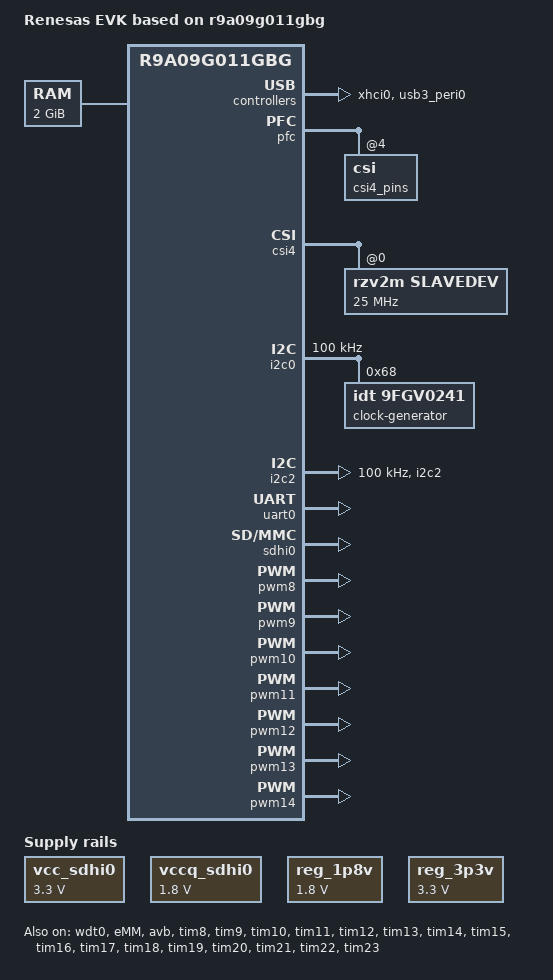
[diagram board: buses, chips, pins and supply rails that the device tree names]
// SPDX-License-Identifier: GPL-2.0
/*
 * Device Tree Source for the RZ/V2M evaluation-board platform
 *
 * Copyright (C) 2022 Renesas Electronics Corp.
 */

/dts-v1/;
#include "r9a09g011gbg.dtsi"
#include <dt-bindings/gpio/gpio.h>

/ {
    model = "Renesas EVK based on r9a09g011gbg";
    compatible = "renesas,r9a09g011gbg";

    aliases {
        serial0 = &uart0;
    };

    chosen {
        bootargs = "earlycon=uart,mmio32,0xA4040000,115200n8 console=ttyS0,115200n8 loglevel=8 vmalloc=384M root=/dev/mmcblk0p2 rootwait rootfstype=ext3 rw; rodata=off ip=dhcp";
        stdout-path = "serial0:115200n8";
    };

    memory@180000000 {
        device_type = "memory";
        reg = <0x1 0x80000000 0x0 0x80000000>;
    };

    reserved-memory {
        #address-cells = <2>;
        #size-cells = <2>;
        ranges;

        /* global autoconfigured region for contiguous allocations */
        global_cma: linux,cma@1B8000000 {
            compatible = "shared-dma-pool";
            reusable;
            reg = <0x1 0xB8000000 0x0 0x8000000>;
            linux,cma-default;
        };

        /* device specific region for contiguous allocations */
        drp_reserved: linux,CMAtoDRP {
            reusable;
            reg = <0x1 0xC0000000 0x0 0x20000000>;
        };

        image_buf0: image_buf@0 {
            compatible = "shared-dma-pool";
            reusable;
            reg = <0x1 0xFFC00000 0x0 0x400000>; //4MiB
            label = "image_buf0";
        };
    };

    vcc_sdhi0: regulator-vcc-sdhi0 {
        compatible = "regulator-fixed";

        regulator-name = "SDHI0 Vcc";
        regulator-min-microvolt = <3300000>;
        regulator-max-microvolt = <3300000>;
        regulator-always-on;
        regulator-boot-on;
    };

    vccq_sdhi0: regulator-vccq-sdhi0 {
        compatible = "regulator-fixed";

        regulator-name = "SDHI0 VccQ";
        regulator-min-microvolt = <1800000>;
        regulator-max-microvolt = <1800000>;
	regulator-always-on;
	regulator-boot-on;
    };

    reg_1p8v: regulator0 {
        compatible = "regulator-fixed";
        regulator-name = "fixed-1.8V";
        regulator-min-microvolt = <1800000>;
        regulator-max-microvolt = <1800000>;
        regulator-boot-on;
        regulator-always-on;
    };

    reg_3p3v: regulator1 {
        compatible = "regulator-fixed";
        regulator-name = "fixed-3.3V";
        regulator-min-microvolt = <3300000>;
        regulator-max-microvolt = <3300000>;
        regulator-boot-on;
        regulator-always-on;
    };
};

&cpg {
	cpg-non-set-div;
};

/* used cpg(clock pulse generator) */ 
&extal_clk {
	clock-frequency = <48000000>;
};

/* used watch dog timer */
&wdt0 {
       status = "okay";
       timeout-sec = <60>;
};

&xhci0 {
	memory-region = <&global_cma>;
	status = "okay";
};

&usb3_peri0 {
    companion = <&xhci0>;
    status = "okay";
    renesas,usb-role-switch;
};

&pfc {
    status = "okay";
    pinctrl-names = "default";
    csi4_pins: csi@4 {
        groups = "csi4rw";
        function = "csi";
    };

    i2c2_pins: i2c@2 {
        groups = "i2c2";
        function = "i2c";
    };
};

&csi4{
    status = "okay";
    slavedev {
        compatible = "rzv2m,slavedev";
        reg = <0>;
        spi-max-frequency = <25000000>;
        spi-cpha;
        spi-cpol;
    };
};

&i2c0 {
    clock-frequency = <100000>;
    status = "okay";
    clock-generator@68 {
       compatible = "idt,9fgv0241";
       reg = <0x68>;
    };
};

&i2c2 {
    pinctrl-0 = <&i2c2_pins>;
    pinctrl-names = "default";
    clock-frequency = <100000>;
    status = "okay";
};

&uart0 {
    status = "okay";
};

&sdhi0 {
    psc-pins = <0>;
    status = "okay";
};

&eMM {
    status = "okay";
};

&avb {
    status = "okay";
};

&pwm8 {
    status = "okay";
};

&pwm9 {
    status = "okay";
};

&pwm10 {
    status = "okay";
};

&pwm11 {
    status = "okay";
};

&pwm12 {
    status = "okay";
};

&pwm13 {
    status = "okay";
};

&pwm14 {
    status = "okay";
};

&tim8 {
    status = "okay";
};

&tim9 {
    status = "okay";
};

&tim10 {
    status = "okay";
};

&tim11 {
    status = "okay";
};

&tim12 {
    status = "okay";
};

&tim13 {
    status = "okay";
};

&tim14 {
    status = "okay";
};

&tim15 {
    status = "okay";
};
&tim16 {
    status = "okay";
};

&tim17 {
    status = "okay";
};

&tim18 {
    status = "okay";
};

&tim19 {
    status = "okay";
};

&tim20 {
    status = "okay";
};

&tim21 {
    status = "okay";
};

&tim22 {
    status = "okay";
};

&tim23 {
    status = "okay";
};
